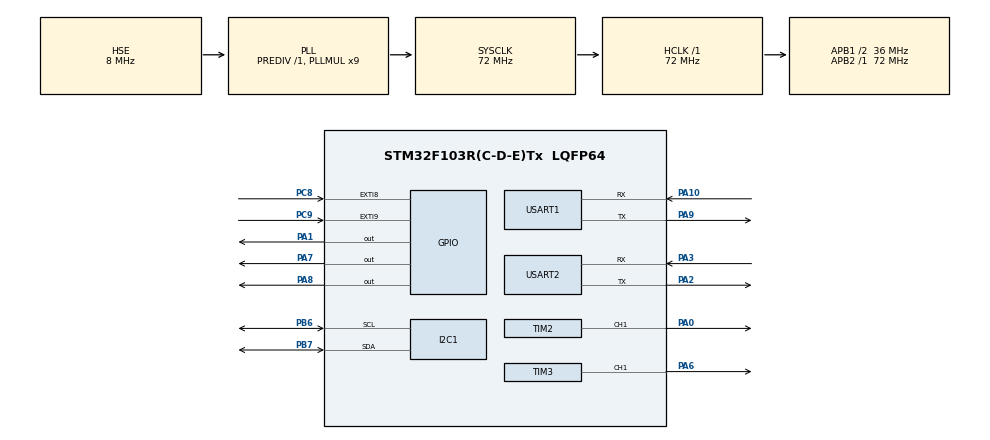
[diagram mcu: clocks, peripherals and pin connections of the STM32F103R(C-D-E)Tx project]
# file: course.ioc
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Mcu.Family=STM32F1
Mcu.Name=STM32F103R(C-D-E)Tx
Mcu.Package=LQFP64
NVIC.EXTI9_5_IRQn=true\:0\:0\:false\:false\:true\:true\:true\:true
NVIC.PriorityGroup=NVIC_PRIORITYGROUP_4
NVIC.TIM2_IRQn=true\:0\:0\:false\:false\:true\:true\:true\:true
NVIC.TIM3_IRQn=true\:0\:0\:false\:false\:true\:true\:true\:true
NVIC.USART1_IRQn=true\:0\:0\:false\:false\:true\:true\:true\:true
NVIC.USART2_IRQn=true\:0\:0\:false\:false\:true\:true\:true\:true
PA0-WKUP.Signal=S_TIM2_CH1_ETR
PA1.Signal=GPIO_Output
PA10.Mode=Asynchronous
PA10.Signal=USART1_RX
PA2.Mode=Asynchronous
PA2.Signal=USART2_TX
PA3.Mode=Asynchronous
PA3.Signal=USART2_RX
PA6.Signal=S_TIM3_CH1
PA7.Signal=GPIO_Output
PA8.PinState=GPIO_PIN_SET
PA8.Signal=GPIO_Output
PA9.Mode=Asynchronous
PA9.Signal=USART1_TX
PB6.Mode=I2C
PB6.Signal=I2C1_SCL
PB7.Mode=I2C
PB7.Signal=I2C1_SDA
PC8.Signal=GPXTI8
PC9.Signal=GPXTI9
PD0-OSC_IN.Mode=HSE-External-Oscillator
PD0-OSC_IN.Signal=RCC_OSC_IN
PD1-OSC_OUT.Mode=HSE-External-Oscillator
PD1-OSC_OUT.Signal=RCC_OSC_OUT
ProjectManager.HeapSize=0x200
ProjectManager.StackSize=0x400
ProjectManager.TargetToolchain=STM32CubeIDE
RCC.AHBFreq_Value=72000000
RCC.APB1CLKDivider=RCC_HCLK_DIV2
RCC.APB1Freq_Value=36000000
RCC.APB1TimFreq_Value=72000000
RCC.APB2Freq_Value=72000000
RCC.APB2TimFreq_Value=72000000
RCC.HCLKFreq_Value=72000000
RCC.PLLMUL=RCC_PLL_MUL9
RCC.PLLSourceVirtual=RCC_PLLSOURCE_HSE
RCC.SYSCLKFreq_VALUE=72000000
RCC.SYSCLKSource=RCC_SYSCLKSOURCE_PLLCLK
RCC.USBFreq_Value=72000000
SH.S_TIM2_CH1_ETR.0=TIM2_CH1,PWM Generation1 CH1
SH.S_TIM3_CH1.0=TIM3_CH1,PWM Generation1 CH1
TIM2.Channel-PWM\ Generation1\ CH1=TIM_CHANNEL_1
TIM2.Period=800 - 1
TIM2.Prescaler=72 - 1
TIM2.Pulse-PWM\ Generation1\ CH1=400
TIM3.Channel-PWM\ Generation1\ CH1=TIM_CHANNEL_1
TIM3.Period=800 - 1
TIM3.Prescaler=72 - 1
TIM3.Pulse-PWM\ Generation1\ CH1=400
USART1.VirtualMode=VM_ASYNC
USART2.VirtualMode=VM_ASYNC
VP_SYS_VS_ND.Mode=No_Debug
board=custom

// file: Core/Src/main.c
/* USER CODE BEGIN Header */
/**
  ******************************************************************************
  * @file           : main.c
  * @brief          : Main program body
  ******************************************************************************
  * @attention
  *
  * Copyright (c) 2023 STMicroelectronics.
  * All rights reserved.
  *
  * This software is licensed under terms that can be found in the LICENSE file
  * in the root directory of this software component.
  * If no LICENSE file comes with this software, it is provided AS-IS.
  *
  ******************************************************************************
  */
/* USER CODE END Header */
#include "main.h"
#include "i2c.h"
#include "tim.h"
#include "usart.h"
#include "gpio.h"

/* USER CODE BEGIN Includes */
#include "motor.h"
#include "oled.h"
#include "myuart.h"
/* USER CODE END Includes */

void SystemClock_Config(void);

int main(void)
{

	/* MCU Configuration--------------------------------------------------------*/

	/* Reset of all peripherals, Initializes the Flash interface and the Systick. */
	HAL_Init();

	/* Configure the system clock */
	SystemClock_Config();

	/* Initialize all configured peripherals */
	MX_GPIO_Init();
	MX_TIM2_Init();
	MX_TIM3_Init();
	MX_USART1_UART_Init();
	MX_USART2_UART_Init();
	MX_I2C1_Init();
	/* USER CODE BEGIN 2 */
//	CX = 0;
//	CY = 0;
//	CZ = 0;
	OLED_Init();
	OLED_Clear();

	UART2_Receive();

	/* USER CODE END 2 */

	/* Infinite loop */
	/* USER CODE BEGIN WHILE */
	while (1)
	{
//		OLED_Clear();
		OLED_ShowString(0, 0, "CX: ", 16, 0);
		OLED_ShowNum(4 * 16, 0, CX, 3, 16, 0);
		OLED_ShowString(0, 3, "CY: ", 16, 0);
		OLED_ShowNum(4 * 16, 3, CY, 3, 16, 0);
		OLED_ShowString(0, 6, "CZ: ", 16, 0);
		OLED_ShowNum(4 * 16, 6, CZ, 3, 16, 0);
		if (CZ > 15)
		{
			if (CX >= 40 && CX <= 140)
			{
				left_motor_control(1, 150, 1);
				right_motor_control(1, 150, 1);

			}
			else if (CX < 40)
			{
				left_motor_control(1, 150, 1);
				right_motor_control(0, 150, 1);
			}
			else if (CX > 140)
			{
				left_motor_control(0, 150, 1);
				right_motor_control(1, 150, 1);
			}
		}
		else if (CZ <= 5 && CZ > 0)
		{
			if (CX > 40 && CX < 140)
			{
				left_motor_control(0, 150, 1);
				right_motor_control(0, 150, 1);
			}
		}
		else if (CZ > 5 && CZ <= 15)
		{
			HAL_TIM_PWM_Stop_IT(&htim2, TIM_CHANNEL_1);
			HAL_TIM_PWM_Stop_IT(&htim3, TIM_CHANNEL_1);
//			if (CX < 40)
//			{
//				left_motor_control(1, 135, 1);
//				right_motor_control(0, 135, 1);
//			}
//			else if (CX > 140)
//			{
//				left_motor_control(0, 135, 1);
//				right_motor_control(1, 135, 1);
//			}
		}
		else if (CZ == 0 && CX == 0 && CY == 0)
		{
			HAL_TIM_PWM_Stop_IT(&htim2, TIM_CHANNEL_1);
			HAL_TIM_PWM_Stop_IT(&htim3, TIM_CHANNEL_1);
		}
		/* USER CODE END WHILE */

	}
}

void SystemClock_Config(void)
{
	RCC_OscInitTypeDef RCC_OscInitStruct = { 0 };
	RCC_ClkInitTypeDef RCC_ClkInitStruct = { 0 };

	/** Initializes the RCC Oscillators according to the specified parameters
	* in the RCC_OscInitTypeDef structure.
	*/
	RCC_OscInitStruct.OscillatorType = RCC_OSCILLATORTYPE_HSE;
	RCC_OscInitStruct.HSEState = RCC_HSE_ON;
	RCC_OscInitStruct.HSEPredivValue = RCC_HSE_PREDIV_DIV1;
	RCC_OscInitStruct.HSIState = RCC_HSI_ON;
	RCC_OscInitStruct.PLL.PLLState = RCC_PLL_ON;
	RCC_OscInitStruct.PLL.PLLSource = RCC_PLLSOURCE_HSE;
	RCC_OscInitStruct.PLL.PLLMUL = RCC_PLL_MUL9;
	if (HAL_RCC_OscConfig(&RCC_OscInitStruct) != HAL_OK)
	{
		Error_Handler();
	}

	/** Initializes the CPU, AHB and APB buses clocks
	*/
	RCC_ClkInitStruct.ClockType = RCC_CLOCKTYPE_HCLK | RCC_CLOCKTYPE_SYSCLK
		| RCC_CLOCKTYPE_PCLK1 | RCC_CLOCKTYPE_PCLK2;
	RCC_ClkInitStruct.SYSCLKSource = RCC_SYSCLKSOURCE_PLLCLK;
	RCC_ClkInitStruct.AHBCLKDivider = RCC_SYSCLK_DIV1;
	RCC_ClkInitStruct.APB1CLKDivider = RCC_HCLK_DIV2;
	RCC_ClkInitStruct.APB2CLKDivider = RCC_HCLK_DIV1;

	if (HAL_RCC_ClockConfig(&RCC_ClkInitStruct, FLASH_LATENCY_2) != HAL_OK)
	{
		Error_Handler();
	}
}

void Error_Handler(void)
{
	__disable_irq();
	while (1)
	{
	}
}
